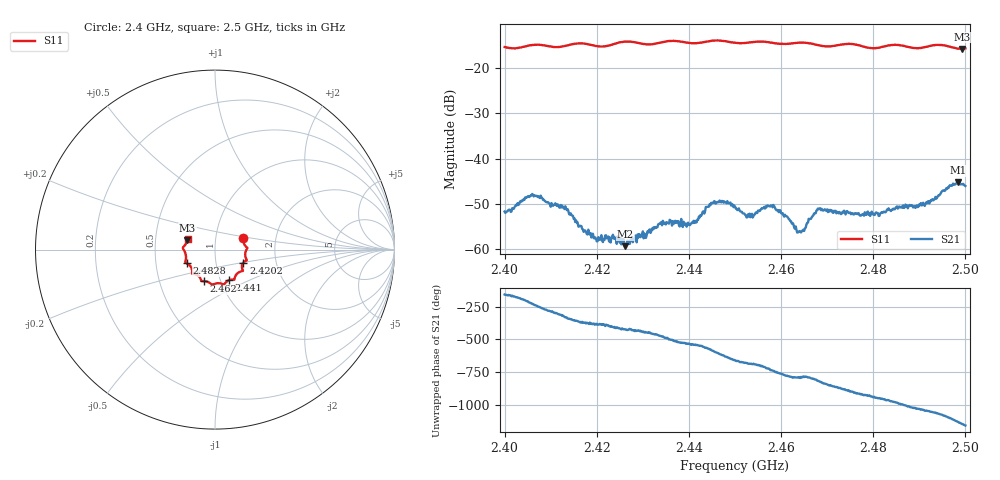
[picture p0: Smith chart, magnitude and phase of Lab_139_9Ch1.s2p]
# Hz S RI R 50
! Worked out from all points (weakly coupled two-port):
!   601 points, 2.4 GHz to 2.5 GHz, reference 50 ohm
!   highest |S21| = -45.21 dB at 2.4983 GHz (marker M1); lowest = -59.3 dB at 2.4262 GHz (marker M2)
!   lowest |S11| = -15.8 dB at 2.4993 GHz (marker M3), VSWR 1.39, Z = 36.5 + j3.9 ohm
!   |S11| at or under -10 dB: start of sweep to end of sweep
!   S12 and S22 are empty: the file has one direction only
!   S11 on the Smith chart (normalised r, x): 2.4 GHz: 1.36, +0.17; 2.4202 GHz: 1.36, -0.20; 2.441 GHz: 1.10, -0.39; 2.462 GHz: 0.84, -0.30; 2.4828 GHz: 0.72, -0.11; 2.5 GHz: 0.73, +0.09
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2.4e9  0.1584 0.062  -0.00241 -0.001  0 0  0 0
2.4065e9  0.1801 0.0102  -0.00211 0.00333  0 0  0 0
2.413333e9  0.1706 -0.0433  0.00248 0.00135  0 0  0 0
2.416667e9  0.1769 -0.0604  0.00177 -0.000383  0 0  0 0
2.420167e9  0.1579 -0.0719  0.00108 -0.00058  0 0  0 0
2.426167e9  0.1562 -0.1177  0.000472 -0.000979  0 0  0 0
2.433333e9  0.1117 -0.1513  -0.000628 -0.00178  0 0  0 0
2.441e9  0.0781 -0.1701  -0.00207 7.7e-05  0 0  0 0
2.445167e9  0.0518 -0.1933  -0.00224 0.00239  0 0  0 0
2.45e9  0.0277 -0.1875  0.00148 0.00257  0 0  0 0
2.453e9  -0.000776 -0.1907  0.00195 0.00125  0 0  0 0
2.458e9  -0.0256 -0.1881  0.0029 -0.000902  0 0  0 0
2.462e9  -0.0608 -0.1757  0.000856 -0.00187  0 0  0 0
2.464e9  -0.0735 -0.1754  0.000433 -0.00154  0 0  0 0
2.466667e9  -0.0788 -0.1678  0.000396 -0.00223  0 0  0 0
2.468333e9  -0.0842 -0.156  -0.000593 -0.00276  0 0  0 0
2.482833e9  -0.1572 -0.0768  -0.0011 0.0024  0 0  0 0
2.483333e9  -0.1603 -0.0753  -0.0012 0.00258  0 0  0 0
2.491667e9  -0.1719 -0.00482  0.00269 0.00178  0 0  0 0
2.498333e9  -0.1591 0.0386  0.00345 -0.00427  0 0  0 0
2.499333e9  -0.1541 0.052  0.00195 -0.00485  0 0  0 0
2.5e9  -0.1527 0.0615  0.001 -0.0049  0 0  0 0
